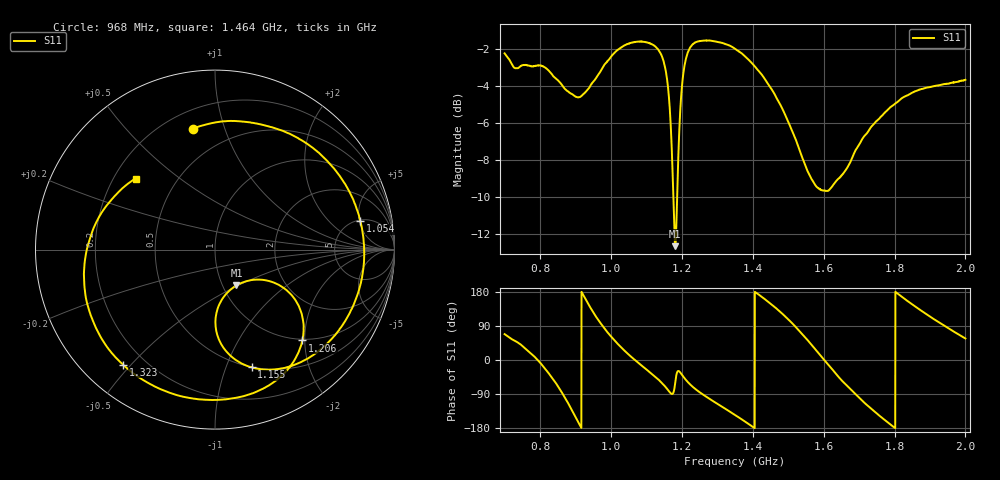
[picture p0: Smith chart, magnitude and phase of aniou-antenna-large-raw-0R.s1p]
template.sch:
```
<Qucs Schematic 0.0.20>
<Properties>
  <View=-20,-320,1500,944,0.909093,60,239>
  <Grid=10,10,1>
  <DataSet=template.dat>
  <DataDisplay=template.dpl>
  <OpenDisplay=1>
  <Script=template.m>
  <RunScript=0>
  <showFrame=0>
  <FrameText0=Title>
  <FrameText1=Drawn By:>
  <FrameText2=Date:>
  <FrameText3=Revision:>
</Properties>
<Symbol>
</Symbol>
<Components>
  <.SP SP1 1 10 10 0 63 0 0 "lin" 1 "750 MHz" 1 "2 GHz" 1 "1000" 1 "no" 0 "1" 0 "2" 0 "no" 0 "no" 0>
  <SPfile X1 1 540 340 -26 -59 0 0 "/home/zamza/SharedFolder/qucs-discrete-matching/antenna_data/aniou-antenna-large-raw-0R.s1p" 0 "rectangular" 0 "linear" 0 "open" 0 "1" 0>
  <Pac P1 1 20 390 18 -26 0 1 "1" 1 "50 Ohm" 1 "0 dBm" 0 "1 GHz" 0 "26.85" 0>
  <GND * 5 20 420 0 0 0 0>
  <GND * 5 540 420 0 0 0 0>
  <SPfile X2 1 540 160 -26 -59 0 0 "/home/zamza/SharedFolder/qucs-discrete-matching/antenna_data/aniou-antenna-large-raw-0R.s1p" 0 "rectangular" 0 "linear" 0 "open" 0 "1" 0>
  <GND *1 5 540 240 0 0 0 0>
  <Pac P2 1 250 210 18 -26 0 1 "2" 1 "50 Ohm" 1 "0 dBm" 0 "1 GHz" 0 "26.85" 0>
  <GND *2 5 250 240 0 0 0 0>
  <Eqn Eqn1 1 640 340 -31 15 0 0 "S11_dB=dB(S[1,1])" 1 "yes" 0>
  <GND * 5 220 370 0 0 0 0>
  <SPICE TEMPLATE_4 1 220 340 -26 -112 0 0 "/home/zamza/SharedFolder/qucs-discrete-matching/components/C/CSRF_0402_885392005004_0R5pF.sp" 0 "_net1,_net2" 0 "yes" 0 "none" 0>
  <GND *5 5 310 440 0 0 0 0>
  <GND *6 5 340 410 0 0 0 0>
  <SPfile TEMPLATE_6 1 310 410 -118 -26 0 1 "/home/zamza/SharedFolder/qucs-discrete-matching/components/L/S-Parameter_7447840012 (rev20a).s2p" 0 "rectangular" 0 "linear" 0 "open" 0 "2" 0>
  <SPfile TEMPLATE_5 1 420 340 -157 30 0 0 "/home/zamza/SharedFolder/qucs-discrete-matching/components/L/S-Parameter_7447840012 (rev20a).s2p" 0 "rectangular" 0 "linear" 0 "open" 0 "2" 0>
  <GND *3 5 420 370 0 0 0 3>
</Components>
<Wires>
  <540 370 540 420 "" 0 0 0 "">
  <540 190 540 240 "" 0 0 0 "">
  <250 160 250 180 "" 0 0 0 "">
  <250 160 510 160 "" 0 0 0 "">
  <20 340 20 360 "" 0 0 0 "">
  <20 340 190 340 "" 0 0 0 "">
  <450 340 510 340 "" 0 0 0 "">
  <250 340 310 340 "" 0 0 0 "">
  <310 340 390 340 "" 0 0 0 "">
  <310 340 310 380 "" 0 0 0 "">
</Wires>
<Diagrams>
  <Rect 860 472 444 322 3 #c0c0c0 1 00 1 7.5e+08 2e+08 2e+09 1 0.156404 0.2 1.07543 1 -1 0.5 1 315 0 225 "" "" "" "">
	<"S11_dB" #0000ff 0 3 0 0 0>
  </Rect>
</Diagrams>
<Paintings>
  <Text 190 0 24 #000000 0 "Matching network template">
  <Text 190 40 12 #000000 0 "Using components:\nK1: /.../....s1p\nK2: /.../....sp\nK3: /.../....s1p">
</Paintings>
```
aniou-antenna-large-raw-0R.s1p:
!Keysight Technologies,P9371A,MY57212015,Z.15.41.75
!Date: Wednesday, May 04, 2022 11:18:10
!Correction: S11(C  1-Port  )
!S1P File: Measurement: S11:
# Hz S  dB  R 50
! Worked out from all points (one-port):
!   2601 points, 700 MHz to 2 GHz, reference 50 ohm
!   lowest |S11| = -12.7 dB at 1.181 GHz (marker M1), VSWR 1.61, Z = 58 - j24.5 ohm
!   |S11| at or under -10 dB: 1.176 GHz to 1.187 GHz (10.77 MHz wide, 0.912 % of centre)
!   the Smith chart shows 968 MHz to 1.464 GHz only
!   S11 on the Smith chart (normalised r, x): 968 MHz: 0.31, +0.78; 1.054 GHz: 5.21, +5.17; 1.155 GHz: 0.50, -1.23; 1.206 GHz: 0.97, -1.95; 1.323 GHz: 0.12, -0.48; 1.464 GHz: 0.29, +0.35
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7e8  -2.22 68.2
8.6e8  -3.89 -83.4
9.68e8  -3.27 100.5
1.054e9  -1.67 11.1
1.1335e9  -2.02 -51.2
1.1555e9  -3.26 -72.8
1.1815e9  -12.67 -59.0
1.206e9  -3.07 -46.1
1.3225e9  -1.72 -128.6
1.464e9  -4.53 138.2
1.567e9  -9.06 39.3
1.7e9  -7.18 -99.3
1.816e9  -4.72 170.3
2e9  -3.66 56.8
